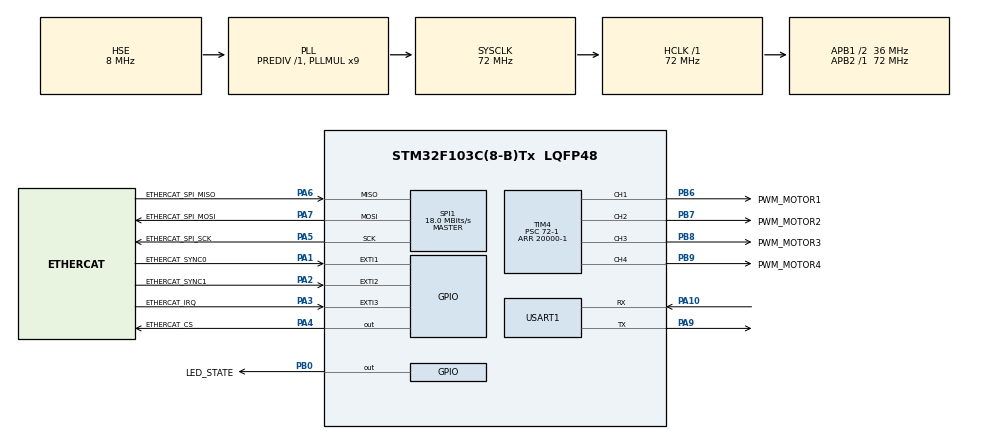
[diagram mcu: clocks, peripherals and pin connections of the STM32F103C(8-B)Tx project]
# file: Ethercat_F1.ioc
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Mcu.Family=STM32F1
Mcu.Name=STM32F103C(8-B)Tx
Mcu.Package=LQFP48
NVIC.EXTI1_IRQn=true\:6\:1\:true\:false\:true\:true
NVIC.EXTI2_IRQn=true\:7\:0\:true\:false\:true\:true
NVIC.EXTI3_IRQn=true\:6\:0\:true\:false\:true\:true
NVIC.PriorityGroup=NVIC_PRIORITYGROUP_3
NVIC.TIM2_IRQn=true\:5\:1\:true\:false\:true\:true
PA1.GPIO_Label=ETHERCAT_SYNC0
PA1.GPIO_ModeDefaultEXTI=GPIO_MODE_IT_FALLING
PA1.GPIO_PuPd=GPIO_NOPULL
PA1.Signal=GPXTI1
PA10.Mode=Asynchronous
PA10.Signal=USART1_RX
PA13.Mode=Serial_Wire
PA13.Signal=SYS_JTMS-SWDIO
PA14.Mode=Serial_Wire
PA14.Signal=SYS_JTCK-SWCLK
PA2.GPIO_Label=ETHERCAT_SYNC1
PA2.GPIO_ModeDefaultEXTI=GPIO_MODE_IT_FALLING
PA2.GPIO_PuPd=GPIO_NOPULL
PA2.Signal=GPXTI2
PA3.GPIO_Label=ETHERCAT_IRQ
PA3.GPIO_ModeDefaultEXTI=GPIO_MODE_IT_FALLING
PA3.Signal=GPXTI3
PA4.GPIO_Label=ETHERCAT_CS
PA4.GPIO_Speed=GPIO_SPEED_FREQ_HIGH
PA4.PinState=GPIO_PIN_SET
PA4.Signal=GPIO_Output
PA5.GPIO_Label=ETHERCAT_SPI_SCK
PA5.Mode=Full_Duplex_Master
PA5.Signal=SPI1_SCK
PA6.GPIO_Label=ETHERCAT_SPI_MISO
PA6.GPIO_PuPd=GPIO_PULLUP
PA6.Mode=Full_Duplex_Master
PA6.Signal=SPI1_MISO
PA7.GPIO_Label=ETHERCAT_SPI_MOSI
PA7.Mode=Full_Duplex_Master
PA7.Signal=SPI1_MOSI
PA9.Mode=Asynchronous
PA9.Signal=USART1_TX
PB0.GPIO_Label=LED_STATE
PB0.GPIO_Speed=GPIO_SPEED_FREQ_HIGH
PB0.PinState=GPIO_PIN_SET
PB0.Signal=GPIO_Output
PB6.GPIO_Label=PWM_MOTOR1
PB6.GPIO_Speed=GPIO_SPEED_FREQ_HIGH
PB6.Signal=S_TIM4_CH1
PB7.GPIO_Label=PWM_MOTOR2
PB7.GPIO_Speed=GPIO_SPEED_FREQ_HIGH
PB7.Signal=S_TIM4_CH2
PB8.GPIO_Label=PWM_MOTOR3
PB8.GPIO_Speed=GPIO_SPEED_FREQ_HIGH
PB8.Signal=S_TIM4_CH3
PB9.GPIO_Label=PWM_MOTOR4
PB9.GPIO_Speed=GPIO_SPEED_FREQ_HIGH
PB9.Signal=S_TIM4_CH4
PC14-OSC32_IN.Mode=LSE-External-Oscillator
PC14-OSC32_IN.Signal=RCC_OSC32_IN
PC15-OSC32_OUT.Mode=LSE-External-Oscillator
PC15-OSC32_OUT.Signal=RCC_OSC32_OUT
PD0-OSC_IN.Mode=HSE-External-Oscillator
PD0-OSC_IN.Signal=RCC_OSC_IN
PD1-OSC_OUT.Mode=HSE-External-Oscillator
PD1-OSC_OUT.Signal=RCC_OSC_OUT
ProjectManager.HeapSize=0x200
ProjectManager.StackSize=0x400
ProjectManager.TargetToolchain=MDK-ARM V5
RCC.AHBFreq_Value=72000000
RCC.APB1CLKDivider=RCC_HCLK_DIV2
RCC.APB1Freq_Value=36000000
RCC.APB1TimFreq_Value=72000000
RCC.APB2Freq_Value=72000000
RCC.APB2TimFreq_Value=72000000
RCC.HCLKFreq_Value=72000000
RCC.PLLMUL=RCC_PLL_MUL9
RCC.PLLSourceVirtual=RCC_PLLSOURCE_HSE
RCC.SYSCLKFreq_VALUE=72000000
RCC.SYSCLKSource=RCC_SYSCLKSOURCE_PLLCLK
RCC.USBFreq_Value=72000000
SH.S_TIM4_CH1.0=TIM4_CH1,PWM Generation1 CH1
SH.S_TIM4_CH2.0=TIM4_CH2,PWM Generation2 CH2
SH.S_TIM4_CH3.0=TIM4_CH3,PWM Generation3 CH3
SH.S_TIM4_CH4.0=TIM4_CH4,PWM Generation4 CH4
SPI1.BaudRatePrescaler=SPI_BAUDRATEPRESCALER_4
SPI1.CLKPhase=SPI_PHASE_1EDGE
SPI1.CLKPolarity=SPI_POLARITY_LOW
SPI1.CalculateBaudRate=18.0 MBits/s
SPI1.Direction=SPI_DIRECTION_2LINES
SPI1.Mode=SPI_MODE_MASTER
SPI1.VirtualType=VM_MASTER
TIM2.Period=20000
TIM2.Prescaler=18-1
TIM4.Channel-PWM\ Generation1\ CH1=TIM_CHANNEL_1
TIM4.Channel-PWM\ Generation2\ CH2=TIM_CHANNEL_2
TIM4.Channel-PWM\ Generation3\ CH3=TIM_CHANNEL_3
TIM4.Channel-PWM\ Generation4\ CH4=TIM_CHANNEL_4
TIM4.Period=20000-1
TIM4.Prescaler=72-1
USART1.VirtualMode=VM_ASYNC
VP_TIM2_VS_ClockSourceINT.Mode=Internal
board=Ethercat_F1

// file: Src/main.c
/**
  ******************************************************************************
  * @file           : main.c
  * @brief          : Main program body
  ******************************************************************************
  ** This notice applies to any and all portions of this file
  * that are not between comment pairs USER CODE BEGIN and
  * USER CODE END. Other portions of this file, whether
  * inserted by the user or by software development tools
  * are owned by their respective copyright owners.
  *
  * COPYRIGHT(c) 2018 STMicroelectronics
  *
  * Redistribution and use in source and binary forms, with or without modification,
  * are permitted provided that the following conditions are met:
  *   1. Redistributions of source code must retain the above copyright notice,
  *      this list of conditions and the following disclaimer.
  *   2. Redistributions in binary form must reproduce the above copyright notice,
  *      this list of conditions and the following disclaimer in the documentation
  *      and/or other materials provided with the distribution.
  *   3. Neither the name of STMicroelectronics nor the names of its contributors
  *      may be used to endorse or promote products derived from this software
  *      without specific prior written permission.
  *
  * THIS SOFTWARE IS PROVIDED BY THE COPYRIGHT HOLDERS AND CONTRIBUTORS "AS IS"
  * AND ANY EXPRESS OR IMPLIED WARRANTIES, INCLUDING, BUT NOT LIMITED TO, THE
  * IMPLIED WARRANTIES OF MERCHANTABILITY AND FITNESS FOR A PARTICULAR PURPOSE ARE
  * DISCLAIMED. IN NO EVENT SHALL THE COPYRIGHT HOLDER OR CONTRIBUTORS BE LIABLE
  * FOR ANY DIRECT, INDIRECT, INCIDENTAL, SPECIAL, EXEMPLARY, OR CONSEQUENTIAL
  * DAMAGES (INCLUDING, BUT NOT LIMITED TO, PROCUREMENT OF SUBSTITUTE GOODS OR
  * SERVICES; LOSS OF USE, DATA, OR PROFITS; OR BUSINESS INTERRUPTION) HOWEVER
  * CAUSED AND ON ANY THEORY OF LIABILITY, WHETHER IN CONTRACT, STRICT LIABILITY,
  * OR TORT (INCLUDING NEGLIGENCE OR OTHERWISE) ARISING IN ANY WAY OUT OF THE USE
  * OF THIS SOFTWARE, EVEN IF ADVISED OF THE POSSIBILITY OF SUCH DAMAGE.
  *
  ******************************************************************************
  */
#include "main.h"
#include "stm32f1xx_hal.h"
#include "spi.h"
#include "tim.h"
#include "usart.h"
#include "gpio.h"

/* USER CODE BEGIN Includes */
#include "ecat_def.h"
#include "applInterface.h"
#include "coeappl.h"
#include "el9800appl.h"
//#include "ad7606.h"
//#include "delay.h"
#include "global.h"
//#include "gain_adj.h"
#include "PWM.h"
/* USER CODE END Includes */

/* USER CODE BEGIN PV */
/* Private variables ---------------------------------------------------------*/

/* USER CODE END PV */

void SystemClock_Config(void);

/* USER CODE BEGIN PFP */
/* Private function prototypes -----------------------------------------------*/

/* USER CODE END PFP */

int main(void)
{

  /* MCU Configuration----------------------------------------------------------*/

  /* Reset of all peripherals, Initializes the Flash interface and the Systick. */
  HAL_Init();

  /* Configure the system clock */
  SystemClock_Config();

  /* Initialize all configured peripherals */
  MX_GPIO_Init();
  MX_SPI1_Init();
  MX_USART1_UART_Init();
  MX_TIM2_Init();
  MX_TIM4_Init();
  /* USER CODE BEGIN 2 */

	HAL_Delay(10);
  //ECAT初始化
	HW_Init();//Ethercat硬件初始化中的校验会阻塞
	MainInit();
	APPL_GenerateMapping(&nPdInputSize,&nPdOutputSize);
	bRunApplication = TRUE;

  //AD7606引脚初始化及设置过采样倍率
//	AD7606_Init();
  HAL_Delay(200);
//  AD_CONVEST_PWM_Init(10);//10kHz
//	AD7606_GPIO_Init();
//	AD7606_SetOsRate(AD_OS_X8);
	//BUSY外部中断初始化及其他引脚初始化
//	EXTIX_Init();
//	DAS_GPIO_Init();//必须放在HW_Init后面否则PB口会被重新初始化
	//设置CONVST引脚PWM频率和占空比
//	TIM5_CH4_PWM_Init(60-1,70-1);	//84M/70=1.2M的计数频率,重装载值60,所以PWM频率为1.2M/60=20Khz.
//	TIM_SetCompare4(TIM5,30);	//修改比较值，修改占空比30/60=0.5
	//设置各通道信号放大倍数(1,4,16,64,128,209)，由CMD命令修改
//	Amp_Set(1,1);
//	Amp_Set(2,1);
//	Amp_Set(3,1);
//	Amp_Set(4,1);

//	HAL_TIM_PWM_Start(&htim2, TIM_CHANNEL_4);
  HAL_TIM_PWM_Start(&htim4, TIM_CHANNEL_1);
	HAL_TIM_PWM_Start(&htim4, TIM_CHANNEL_2);
//	HAL_TIM_PWM_Start(&htim4, TIM_CHANNEL_3);
//	HAL_TIM_PWM_Start(&htim4, TIM_CHANNEL_4);
	PWM_Set(0,0);//暂时不动
	PWM_Set(1,10000);//测试
  /* USER CODE END 2 */

  /* Infinite loop */
  /* USER CODE BEGIN WHILE */
////	int loop_count = 0;
  while (1)
  {
//   HAL_GPIO_TogglePin(LED_STATE_GPIO_Port,LED_STATE_Pin);
//	 HAL_Delay(1000);
		MainLoop();
		LED_Twinkle();//indication of normal state of program
  /* USER CODE END WHILE */

  }

}

void SystemClock_Config(void)
{

  RCC_OscInitTypeDef RCC_OscInitStruct;
  RCC_ClkInitTypeDef RCC_ClkInitStruct;

    /**Initializes the CPU, AHB and APB busses clocks
    */
  RCC_OscInitStruct.OscillatorType = RCC_OSCILLATORTYPE_HSE;
  RCC_OscInitStruct.HSEState = RCC_HSE_ON;
  RCC_OscInitStruct.HSEPredivValue = RCC_HSE_PREDIV_DIV1;
  RCC_OscInitStruct.HSIState = RCC_HSI_ON;
  RCC_OscInitStruct.PLL.PLLState = RCC_PLL_ON;
  RCC_OscInitStruct.PLL.PLLSource = RCC_PLLSOURCE_HSE;
  RCC_OscInitStruct.PLL.PLLMUL = RCC_PLL_MUL9;
  if (HAL_RCC_OscConfig(&RCC_OscInitStruct) != HAL_OK)
  {
    _Error_Handler(__FILE__, __LINE__);
  }

    /**Initializes the CPU, AHB and APB busses clocks
    */
  RCC_ClkInitStruct.ClockType = RCC_CLOCKTYPE_HCLK|RCC_CLOCKTYPE_SYSCLK
                              |RCC_CLOCKTYPE_PCLK1|RCC_CLOCKTYPE_PCLK2;
  RCC_ClkInitStruct.SYSCLKSource = RCC_SYSCLKSOURCE_PLLCLK;
  RCC_ClkInitStruct.AHBCLKDivider = RCC_SYSCLK_DIV1;
  RCC_ClkInitStruct.APB1CLKDivider = RCC_HCLK_DIV2;
  RCC_ClkInitStruct.APB2CLKDivider = RCC_HCLK_DIV1;

  if (HAL_RCC_ClockConfig(&RCC_ClkInitStruct, FLASH_LATENCY_2) != HAL_OK)
  {
    _Error_Handler(__FILE__, __LINE__);
  }

    /**Configure the Systick interrupt time
    */
  HAL_SYSTICK_Config(HAL_RCC_GetHCLKFreq()/1000);

    /**Configure the Systick
    */
  HAL_SYSTICK_CLKSourceConfig(SYSTICK_CLKSOURCE_HCLK);

  /* SysTick_IRQn interrupt configuration */
  HAL_NVIC_SetPriority(SysTick_IRQn, 0, 0);
}

void _Error_Handler(char *file, int line)
{
  while(1)
  {
  }
}

/************************ (C) COPYRIGHT STMicroelectronics *****END OF FILE****/
